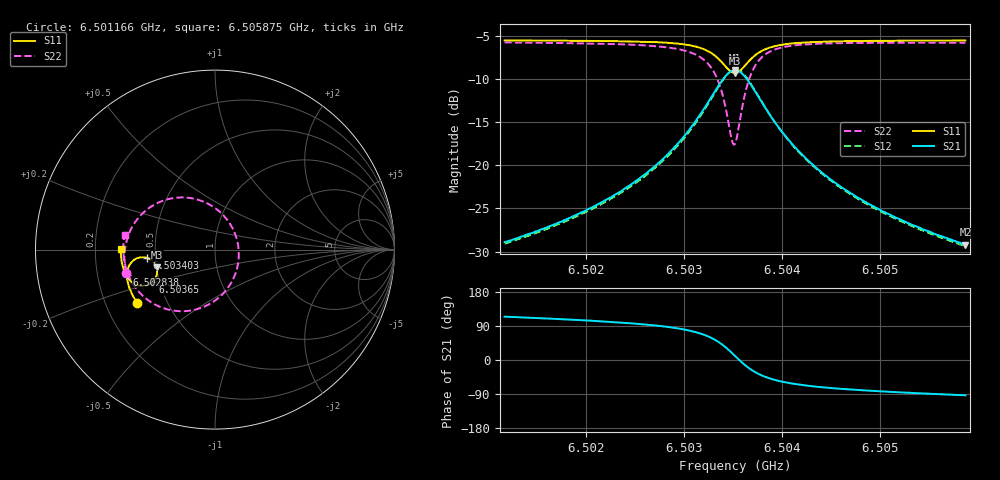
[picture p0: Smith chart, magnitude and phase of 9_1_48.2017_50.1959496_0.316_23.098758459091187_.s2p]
#  HZ  S  RI  R  50.00
! Rohde & Schwarz Vector Network Analyzer
! Rohde-Schwarz,ZNB20-2Port,1311601062101988,3.16
! Created: UTC 3/20/2024, 11:36:21 AM
! freq[Hz]  re:S11  im:S11  re:S21  im:S21  re:S12  im:S12  re:S22  im:S22
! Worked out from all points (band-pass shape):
!   401 points, 6.501166 GHz to 6.505875 GHz, reference 50 ohm
!   highest |S21| = -9.01 dB at 6.503521 GHz (marker M1); lowest = -29.2 dB at 6.505875 GHz (marker M2)
!   |S21| within 3 dB of the highest: 6.503285 GHz to 6.503756 GHz (471.3 kHz wide, 0.00725 % of centre)
!   lowest |S11| = -9.4 dB at 6.503521 GHz (marker M3), VSWR 2.03, Z = 25 - j5.64 ohm
!   |S11| at or under -10 dB: nowhere
!   |S22| runs from -17.6 to -5.8 dB; largest |S21 - S12| = 0.013
!   S11 on the Smith chart (normalised r, x): 6.501166 GHz: 0.34, -0.27; 6.502838 GHz: 0.33, -0.12; 6.503403 GHz: 0.45, -0.05; 6.50365 GHz: 0.46, -0.20; 6.505875 GHz: 0.31, +0.00
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6.5011665e9  -0.4363 -0.2948  -0.0148 0.0327  -0.0129 0.0327  -0.4952 -0.133
6.5019551e9  -0.4687 -0.2345  -0.0138 0.0515  -0.0113 0.051  -0.5045 -0.0451
6.5023435e9  -0.4818 -0.199  -0.011 0.0693  -0.00789 0.0681  -0.5002 0.0125
6.5027437e9  -0.4905 -0.153  -0.000282 0.1034  0.00346 0.1008  -0.4759 0.0971
6.5028379e9  -0.4907 -0.1395  0.0058 0.116  0.00954 0.1129  -0.463 0.124
6.503038e9  -0.4849 -0.1047  0.0309 0.153  0.0347 0.148  -0.4104 0.195
6.5031792e9  -0.4682 -0.0742  0.073 0.1881  0.0756 0.1818  -0.3293 0.2551
6.5033087e9  -0.4305 -0.0471  0.1536 0.2142  0.1542 0.2078  -0.1824 0.2905
6.5034028e9  -0.3815 -0.0451  0.249 0.1959  0.2491 0.1913  -0.0174 0.2434
6.5034852e9  -0.337 -0.0763  0.33 0.1174  0.3328 0.1129  0.1116 0.0877
6.5035205e9  -0.3257 -0.0997  0.3481 0.0663  0.352 0.0605  0.1324 -0.00838
6.5035441e9  -0.3228 -0.1168  0.3513 0.0301  0.3556 0.023  0.1292 -0.0749
6.5035794e9  -0.325 -0.1421  0.3432 -0.0222  0.3469 -0.0317  0.0995 -0.1678
6.50365e9  -0.3485 -0.181  0.2936 -0.1014  0.2936 -0.1135  -0.0172 -0.2955
6.5037442e9  -0.391 -0.2016  0.2116 -0.1458  0.2065 -0.1568  -0.1841 -0.3433
6.5038266e9  -0.422 -0.2009  0.1551 -0.1507  0.1477 -0.1588  -0.2896 -0.3255
6.503909e9  -0.4449 -0.193  0.115 -0.1432  0.1074 -0.1487  -0.3591 -0.2913
6.5040737e9  -0.4736 -0.1717  0.0676 -0.1211  0.0609 -0.1235  -0.4353 -0.222
6.5043092e9  -0.495 -0.142  0.0359 -0.0944  0.0308 -0.095  -0.4806 -0.1463
6.5046505e9  -0.5106 -0.1048  0.0164 -0.07  0.0127 -0.0696  -0.5036 -0.0715
6.5050978e9  -0.5205 -0.0622  0.00551 -0.0515  0.00296 -0.0508  -0.5106 -0.00352
6.5058746e9  -0.5261 0.00476  -0.00194 -0.0346  -0.00331 -0.0338  -0.504 0.0827
